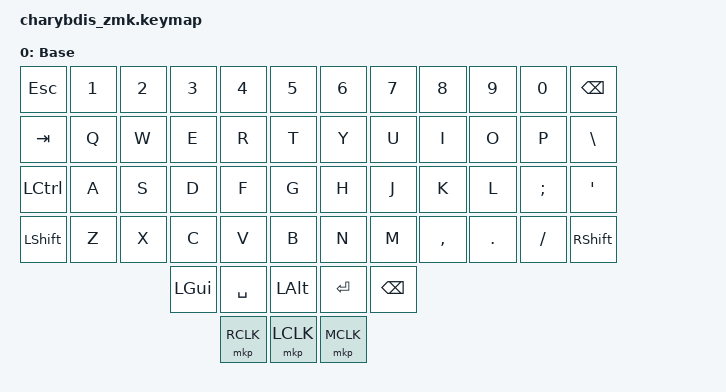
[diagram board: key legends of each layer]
#include <behaviors.dtsi>
#include <dt-bindings/zmk/mouse.h>
#include <dt-bindings/zmk/keys.h>

&lt {
    tapping-term-ms = <200>;
    flavor = "balanced";
    quick-tap-ms = <150>;
};

/ {
    keymap {
        compatible = "zmk,keymap";

        Base {
            bindings = <
&kp ESC    &kp N1  &kp N2  &kp N3    &kp N4     &kp N5       &kp N6     &kp N7    &kp N8     &kp N9   &kp N0    &kp BSPC
&kp TAB    &kp Q   &kp W   &kp E     &kp R      &kp T        &kp Y      &kp U     &kp I      &kp O    &kp P     &kp BSLH
&kp LCTRL  &kp A   &kp S   &kp D     &kp F      &kp G        &kp H      &kp J     &kp K      &kp L    &kp SEMI  &kp APOS
&kp LSHFT  &kp Z   &kp X   &kp C     &kp V      &kp B        &kp N      &kp M     &kp COMMA  &kp DOT  &kp FSLH  &kp RSHFT
                           &kp LGUI  &kp SPACE  &kp LALT     &kp ENTER  &kp BSPC
                                     &mkp RCLK  &mkp LCLK    &mkp MCLK
            >;
            trackball-bindings = <&tmv_coarse>;
        };
    };
};
